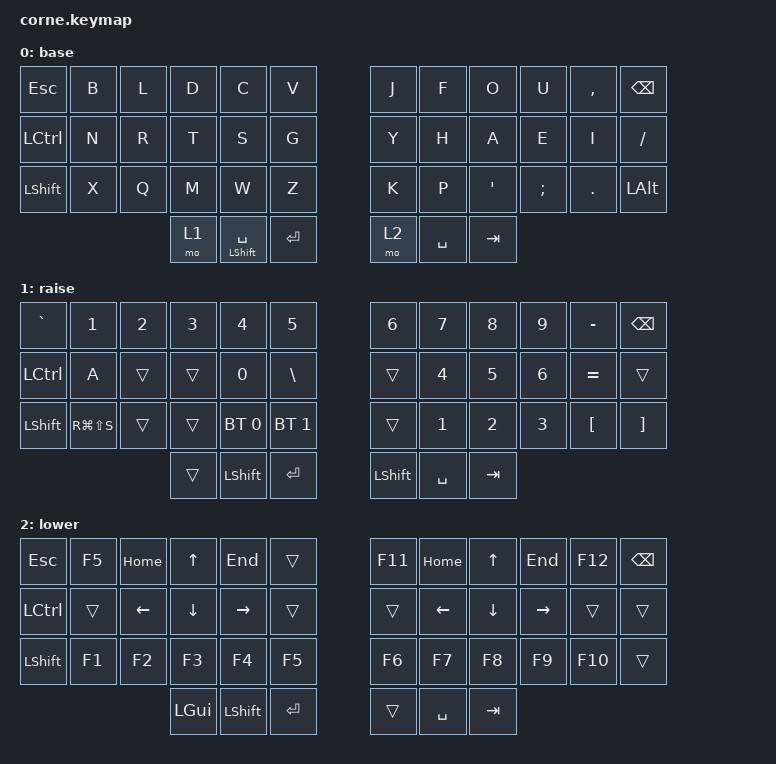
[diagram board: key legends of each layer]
#include <behaviors.dtsi>
#include <dt-bindings/zmk/bt.h>
#include <dt-bindings/zmk/keys.h>

/ {
    keymap {
        compatible = "zmk,keymap";

        base {
            bindings = <
&kp ESC    &kp B  &kp L  &kp D  &kp C                 &kp V        &kp J  &kp F      &kp O     &kp U     &kp COMMA  &kp BSPC
&kp LCTRL  &kp N  &kp R  &kp T  &kp S                 &kp G        &kp Y  &kp H      &kp A     &kp E     &kp I      &kp FSLH
&kp LSHFT  &kp X  &kp Q  &kp M  &kp W                 &kp Z        &kp K  &kp P      &kp APOS  &kp SEMI  &kp DOT    &kp LALT
                         &mo 1  &mt LEFT_SHIFT SPACE  &kp ENTER    &mo 2  &kp SPACE  &kp TAB
            >;
        };

        raise {
            bindings = <
&kp GRAVE  &kp N1         &kp N2  &kp N3  &kp N4        &kp N5          &kp N6     &kp N7     &kp N8   &kp N9  &kp MINUS  &kp BSPC
&kp LCTRL  &kp A          &trans  &trans  &kp N0        &kp BSLH        &trans     &kp N4     &kp N5   &kp N6  &kp EQUAL  &trans
&kp LSHFT  &kp RG(LS(S))  &trans  &trans  &bt BT_SEL 0  &bt BT_SEL 1    &trans     &kp N1     &kp N2   &kp N3  &kp LBKT   &kp RBKT
                                  &trans  &kp LSHFT     &kp ENTER       &kp LSHFT  &kp SPACE  &kp TAB
            >;
        };

        lower {
            bindings = <
&kp ESC    &kp F5  &kp HOME  &kp UP    &kp END    &trans       &kp F11  &kp HOME   &kp UP    &kp END    &kp F12  &kp BSPC
&kp LCTRL  &trans  &kp LEFT  &kp DOWN  &kp RIGHT  &trans       &trans   &kp LEFT   &kp DOWN  &kp RIGHT  &trans   &trans
&kp LSHFT  &kp F1  &kp F2    &kp F3    &kp F4     &kp F5       &kp F6   &kp F7     &kp F8    &kp F9     &kp F10  &trans
                             &kp LGUI  &kp LSHFT  &kp ENTER    &trans   &kp SPACE  &kp TAB
            >;
        };
    };
};
